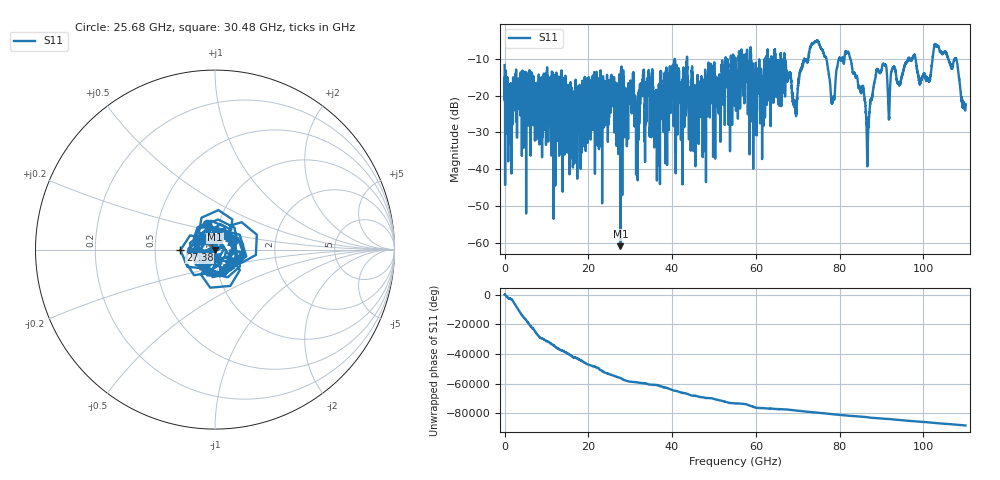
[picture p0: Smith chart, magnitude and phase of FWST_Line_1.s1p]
#  HZ  S  RI  R  50.00
! Rohde & Schwarz ZVA67 4Ports - Version 4.11 - 1305.7002k04 SN: 101032
! Date: 2026-02-18 15:10:19
! Measurement: a2d1/b2d1sam
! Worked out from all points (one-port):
!   5500 points, 20 MHz to 110 GHz, reference 50 ohm
!   lowest |S11| = -60.8 dB at 27.64 GHz (marker M1), VSWR 1.00, Z = 50 - j0.0908 ohm
!   |S11| at or under -10 dB: start of sweep to 43.55 GHz; 43.57 GHz to 52.77 GHz (9.2 GHz wide, 19.1 % of centre); 82.53 GHz to 96.39 GHz (13.86 GHz wide, 15.5 % of centre)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
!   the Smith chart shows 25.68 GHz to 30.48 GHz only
!   S11 on the Smith chart (normalised r, x): 25.68 GHz: 0.88, +0.26; 27.38 GHz: 0.68, -0.00; 30.48 GHz: 1.05, -0.25
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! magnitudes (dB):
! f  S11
! 20 MHz  -11.7
! 1.38 GHz  -28.3
! 13.78 GHz  -24.0
! 25.68 GHz  -16.5
! 27.38 GHz  -14.3
! 27.52 GHz  -19.9
! 27.64 GHz  -60.8
! 30.48 GHz  -18.2
! 31.52 GHz  -25.2
! 32.84 GHz  -18.2
! 36.2 GHz  -18.5
! 41.28 GHz  -23.9
! 55.02 GHz  -15.7
! 61.36 GHz  -19.6
! 66.8 GHz  -11.7
! 68.76 GHz  -20.2
! 73.92 GHz  -5.6
! 78.34 GHz  -21.1
! 79.74 GHz  -10.3
! 82.52 GHz  -10.0
! 86.68 GHz  -34.3
! 88.96 GHz  -12.8
! 91.8 GHz  -26.2
! 96.26 GHz  -10.2
! 101.1 GHz  -15.5
! 103.2 GHz  -6.7
! 107.7 GHz  -9.9
! 110 GHz  -22.4
